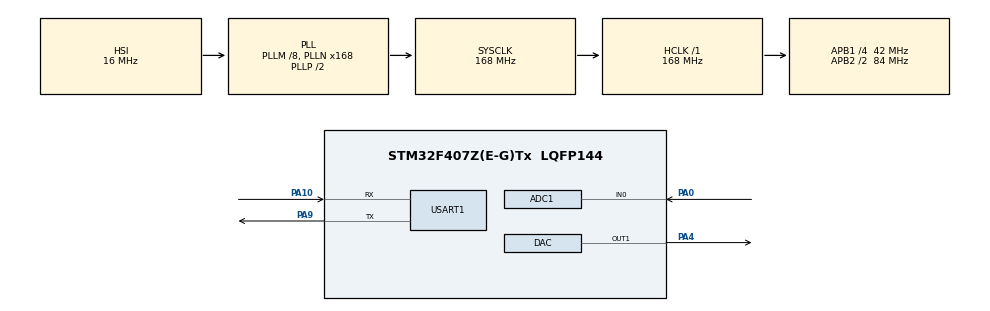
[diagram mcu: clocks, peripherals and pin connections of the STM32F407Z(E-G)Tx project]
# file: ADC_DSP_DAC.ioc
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ADC1.Channel-0\#ChannelRegularConversion=ADC_CHANNEL_0
ADC1.ContinuousConvMode=ENABLE
ADC1.DMAContinuousRequests=ENABLE
ADC1.ExternalTrigConv=ADC_EXTERNALTRIGCONV_T3_TRGO
ADC1.NbrOfConversionFlag=1
ADC1.Rank-0\#ChannelRegularConversion=1
ADC1.SamplingTime-0\#ChannelRegularConversion=ADC_SAMPLETIME_3CYCLES
ADC1.ScanConvMode=ENABLE
ADC1.master=1
DAC.DAC_Trigger=DAC_TRIGGER_T6_TRGO
Dma.ADC1.0.Direction=DMA_PERIPH_TO_MEMORY
Dma.ADC1.0.FIFOMode=DMA_FIFOMODE_DISABLE
Dma.ADC1.0.Instance=DMA2_Stream0
Dma.ADC1.0.MemDataAlignment=DMA_MDATAALIGN_HALFWORD
Dma.ADC1.0.MemInc=DMA_MINC_ENABLE
Dma.ADC1.0.Mode=DMA_CIRCULAR
Dma.ADC1.0.PeriphDataAlignment=DMA_PDATAALIGN_HALFWORD
Dma.ADC1.0.PeriphInc=DMA_PINC_DISABLE
Dma.ADC1.0.Priority=DMA_PRIORITY_LOW
Dma.DAC1.1.Direction=DMA_MEMORY_TO_PERIPH
Dma.DAC1.1.FIFOMode=DMA_FIFOMODE_DISABLE
Dma.DAC1.1.Instance=DMA1_Stream5
Dma.DAC1.1.MemDataAlignment=DMA_MDATAALIGN_HALFWORD
Dma.DAC1.1.MemInc=DMA_MINC_ENABLE
Dma.DAC1.1.Mode=DMA_CIRCULAR
Dma.DAC1.1.PeriphDataAlignment=DMA_PDATAALIGN_HALFWORD
Dma.DAC1.1.PeriphInc=DMA_PINC_DISABLE
Dma.DAC1.1.Priority=DMA_PRIORITY_LOW
Dma.Request0=ADC1
Dma.Request1=DAC1
Mcu.Family=STM32F4
Mcu.Name=STM32F407Z(E-G)Tx
Mcu.Package=LQFP144
NVIC.DMA1_Stream5_IRQn=true\:0\:0\:false\:false\:true\:false\:true\:true
NVIC.DMA2_Stream0_IRQn=true\:0\:0\:false\:false\:true\:false\:true\:true
NVIC.PriorityGroup=NVIC_PRIORITYGROUP_4
PA0-WKUP.Signal=ADCx_IN0
PA10.Mode=Asynchronous
PA10.Signal=USART1_RX
PA13.Mode=Serial_Wire
PA13.Signal=SYS_JTMS-SWDIO
PA14.Mode=Serial_Wire
PA14.Signal=SYS_JTCK-SWCLK
PA4.Signal=COMP_DAC1_group
PA9.Mode=Asynchronous
PA9.Signal=USART1_TX
PC14-OSC32_IN.Mode=LSE-External-Oscillator
PC14-OSC32_IN.Signal=RCC_OSC32_IN
PC15-OSC32_OUT.Mode=LSE-External-Oscillator
PC15-OSC32_OUT.Signal=RCC_OSC32_OUT
PH0-OSC_IN.Mode=HSE-External-Oscillator
PH0-OSC_IN.Signal=RCC_OSC_IN
PH1-OSC_OUT.Mode=HSE-External-Oscillator
PH1-OSC_OUT.Signal=RCC_OSC_OUT
ProjectManager.HeapSize=0x200
ProjectManager.StackSize=0x400
ProjectManager.TargetToolchain=MDK-ARM V5.32
RCC.48MHZClocksFreq_Value=84000000
RCC.AHBFreq_Value=168000000
RCC.APB1CLKDivider=RCC_HCLK_DIV4
RCC.APB1Freq_Value=42000000
RCC.APB1TimFreq_Value=84000000
RCC.APB2CLKDivider=RCC_HCLK_DIV2
RCC.APB2Freq_Value=84000000
RCC.APB2TimFreq_Value=168000000
RCC.CortexFreq_Value=168000000
RCC.HCLKFreq_Value=168000000
RCC.HSE_VALUE=25000000
RCC.HSI_VALUE=16000000
RCC.PLLM=8
RCC.PLLN=168
RCC.SYSCLKFreq_VALUE=168000000
RCC.SYSCLKSource=RCC_SYSCLKSOURCE_PLLCLK
RCC.VCOOutputFreq_Value=336000000
SH.ADCx_IN0.0=ADC1_IN0,IN0
SH.COMP_DAC1_group.0=DAC_OUT1,DAC_OUT1
TIM3.AutoReloadPreload=TIM_AUTORELOAD_PRELOAD_DISABLE
TIM3.Period=84 - 1
TIM3.Prescaler=0
TIM3.TIM_MasterOutputTrigger=TIM_TRGO_UPDATE
TIM6.Period=84 - 1
TIM6.Prescaler=100 - 1
TIM6.TIM_MasterOutputTrigger=TIM_TRGO_UPDATE
USART1.VirtualMode=VM_ASYNC
VP_TIM3_VS_ClockSourceINT.Mode=Internal
VP_TIM6_VS_ClockSourceINT.Mode=Enable_Timer
board=custom

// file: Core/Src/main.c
/* USER CODE BEGIN Header */
/**
  ******************************************************************************
  * @file           : main.c
  * @brief          : Main program body
  ******************************************************************************
  * @attention
  *
  * Copyright (c) 2024 STMicroelectronics.
  * All rights reserved.
  *
  * This software is licensed under terms that can be found in the LICENSE file
  * in the root directory of this software component.
  * If no LICENSE file comes with this software, it is provided AS-IS.
  *
  ******************************************************************************
  */
/* USER CODE END Header */
#include "main.h"
#include "adc.h"
#include "dac.h"
#include "dma.h"
#include "tim.h"
#include "usart.h"
#include "gpio.h"

/* USER CODE BEGIN Includes */
#include <stdio.h>

/* USER CODE END Includes */

/* USER CODE BEGIN PD */
#define ADC_NUM 100
#define DAC_NUM 100

/* USER CODE END PD */

/* USER CODE BEGIN PV */
const uint16_t SineWave12bit[DAC_NUM]={
		0x0800, 0x0881, 0x0901, 0x0980, 0x09FD, 0x0A79, 0x0AF2, 0x0B68, 0x0BDA, 0x0C49,
		0x0CB3, 0x0D19, 0x0D79, 0x0DD4, 0x0E29, 0x0E78, 0x0EC0, 0x0F02, 0x0F3C, 0x0F6F,
		0x0F9B, 0x0FBF, 0x0FDB, 0x0FEF, 0x0FFB, 0x0FFF, 0x0FFB, 0x0FEF, 0x0FDB, 0x0FBF,
		0x0F9B, 0x0F6F, 0x0F3C, 0x0F02, 0x0EC0, 0x0E78, 0x0E29, 0x0DD4, 0x0D79, 0x0D19,
		0x0CB3, 0x0C49, 0x0BDA, 0x0B68, 0x0AF2, 0x0A79, 0x09FD, 0x0980, 0x0901, 0x0881,
		0x0800, 0x077F, 0x06FF, 0x0680, 0x0603, 0x0587, 0x050E, 0x0498, 0x0426, 0x03B7,
		0x034D, 0x02E7, 0x0287, 0x022C, 0x01D7, 0x0188, 0x0140, 0x00FE, 0x00C4, 0x0091,
		0x0065, 0x0041, 0x0025, 0x0011, 0x0005, 0x0001, 0x0005, 0x0011, 0x0025, 0x0041,
		0x0065, 0x0091, 0x00C4, 0x00FE, 0x0140, 0x0188, 0x01D7, 0x022C, 0x0287, 0x02E7,
		0x034D, 0x03B7, 0x0426, 0x0498, 0x050E, 0x0587, 0x0603, 0x0680, 0x06FF, 0x077F,
};

uint16_t adc_buff[ADC_NUM];
uint16_t dac_buff[DAC_NUM];

int i = 0;
/* USER CODE END PV */

void SystemClock_Config(void);
/* USER CODE BEGIN PFP */
int fputc(int ch, FILE *f)
{
  HAL_UART_Transmit(&huart1, (uint8_t *)&ch, 1, 0xffff);
  return ch;
}
/* USER CODE END PFP */

int main(void)
{

  /* MCU Configuration--------------------------------------------------------*/

  /* Reset of all peripherals, Initializes the Flash interface and the Systick. */
  HAL_Init();

  /* Configure the system clock */
  SystemClock_Config();

  /* Initialize all configured peripherals */
  MX_GPIO_Init();
  MX_DMA_Init();
  MX_ADC1_Init();
  MX_DAC_Init();
  MX_USART1_UART_Init();
  MX_TIM3_Init();
  MX_TIM6_Init();

  /* Infinite loop */
  /* USER CODE BEGIN WHILE */
	printf("init\r\n");

	HAL_TIM_Base_Start(&htim3);
	HAL_ADC_Start_DMA(&hadc1, (uint32_t *)adc_buff, ADC_NUM);

	HAL_TIM_Base_Start(&htim6);
  HAL_DAC_Start_DMA(&hdac, DAC_CHANNEL_1, (uint32_t *)adc_buff, DAC_NUM, DAC_ALIGN_12B_R);
  while (1)
  {
		for(i = 0; i < ADC_NUM; i++){
			printf("%.5f,\r\n", (float)adc_buff[i] * 3.3f / 4096);

		}
		HAL_Delay(5000);
    /* USER CODE END WHILE */

  }
}

void SystemClock_Config(void)
{
  RCC_OscInitTypeDef RCC_OscInitStruct = {0};
  RCC_ClkInitTypeDef RCC_ClkInitStruct = {0};

  /** Configure the main internal regulator output voltage
  */
  __HAL_RCC_PWR_CLK_ENABLE();
  __HAL_PWR_VOLTAGESCALING_CONFIG(PWR_REGULATOR_VOLTAGE_SCALE1);

  /** Initializes the RCC Oscillators according to the specified parameters
  * in the RCC_OscInitTypeDef structure.
  */
  RCC_OscInitStruct.OscillatorType = RCC_OSCILLATORTYPE_HSI;
  RCC_OscInitStruct.HSIState = RCC_HSI_ON;
  RCC_OscInitStruct.HSICalibrationValue = RCC_HSICALIBRATION_DEFAULT;
  RCC_OscInitStruct.PLL.PLLState = RCC_PLL_ON;
  RCC_OscInitStruct.PLL.PLLSource = RCC_PLLSOURCE_HSI;
  RCC_OscInitStruct.PLL.PLLM = 8;
  RCC_OscInitStruct.PLL.PLLN = 168;
  RCC_OscInitStruct.PLL.PLLP = RCC_PLLP_DIV2;
  RCC_OscInitStruct.PLL.PLLQ = 4;
  if (HAL_RCC_OscConfig(&RCC_OscInitStruct) != HAL_OK)
  {
    Error_Handler();
  }

  /** Initializes the CPU, AHB and APB buses clocks
  */
  RCC_ClkInitStruct.ClockType = RCC_CLOCKTYPE_HCLK|RCC_CLOCKTYPE_SYSCLK
                              |RCC_CLOCKTYPE_PCLK1|RCC_CLOCKTYPE_PCLK2;
  RCC_ClkInitStruct.SYSCLKSource = RCC_SYSCLKSOURCE_PLLCLK;
  RCC_ClkInitStruct.AHBCLKDivider = RCC_SYSCLK_DIV1;
  RCC_ClkInitStruct.APB1CLKDivider = RCC_HCLK_DIV4;
  RCC_ClkInitStruct.APB2CLKDivider = RCC_HCLK_DIV2;

  if (HAL_RCC_ClockConfig(&RCC_ClkInitStruct, FLASH_LATENCY_5) != HAL_OK)
  {
    Error_Handler();
  }
}

/* USER CODE BEGIN 4 */
uint8_t str[] = "Callback running \r\n";
void HAL_ADC_ConvCpltCallback(ADC_HandleTypeDef* hadc) {
//    if (hadc->Instance == ADC1) {
//			for(i = 0; i < DAC_NUM; i++){
//				dac_buff[i] = adc_buff[i] + adc_buff[i];
//			}
//    }
}
/* USER CODE END 4 */

void Error_Handler(void)
{
  __disable_irq();
  while (1)
  {
  }
}
